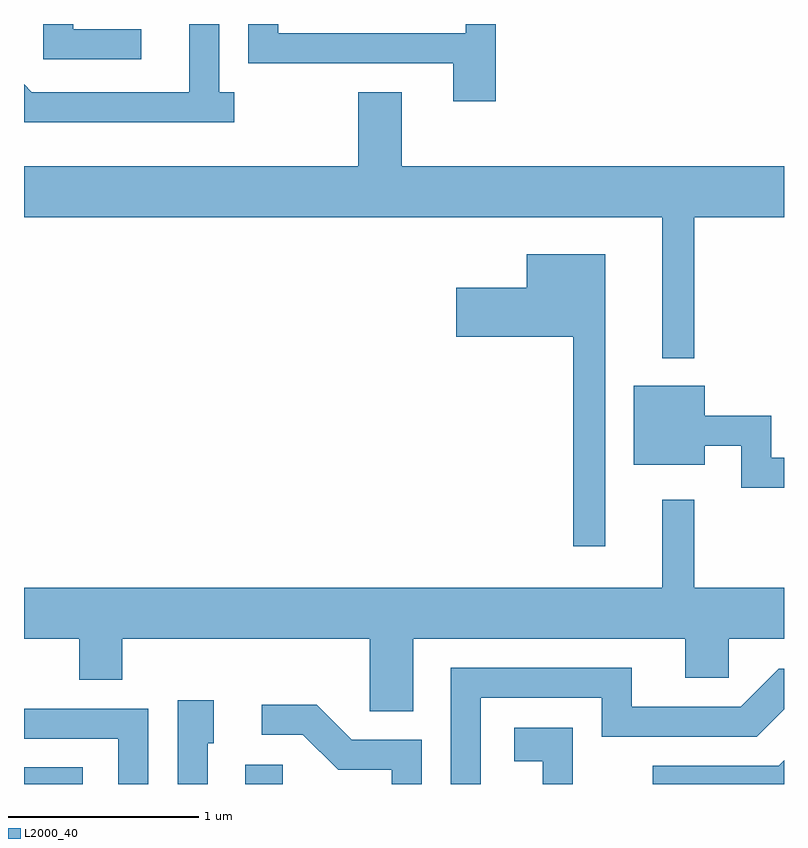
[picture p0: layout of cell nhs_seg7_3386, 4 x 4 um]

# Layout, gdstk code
import gdstk
lib = gdstk.Library(unit=1e-6, precision=1e-09)
def R(c, l, rs):  # rectangles x0, y0, x1, y1
    for r in rs: c.add(gdstk.rectangle(r[:2], r[2:], *l))
def P(c, l, *ps):  # polygons
    for p in ps: c.add(gdstk.Polygon(p, *l))
L2000_40 = (2000, 40)

nhs_seg7_3386 = lib.new_cell('nhs_seg7_3386')
R(nhs_seg7_3386, L2000_40, [(289.611,1680.252,289.919,1680.339), (290.776,1680.252,290.974,1680.354)])
P(nhs_seg7_3386, L2000_40, [(290.228,1684.224),(289.869,1684.224),(289.869,1684.252),(289.711,1684.252),(289.711,1684.066),(290.228,1684.066)],
  [(290.718,1683.894),(290.639,1683.894),(290.639,1684.252),(290.481,1684.252),(290.481,1683.894),(289.652,1683.894),(289.611,1683.935),(289.611,1683.736),(290.718,1683.736)],
  [(292.094,1684.252),(291.936,1684.252),(291.936,1684.204),(290.949,1684.204),(290.949,1684.252),(290.791,1684.252),(290.791,1684.046),(291.871,1684.046),(291.871,1683.846),(292.094,1683.846)],
  [(293.139,1683.236),(293.611,1683.236),(293.611,1683.504),(291.599,1683.504),(291.599,1683.894),(291.371,1683.894),(291.371,1683.504),(289.611,1683.504),(289.611,1683.236),(292.971,1683.236),(292.971,1682.493),(293.139,1682.493)],
  [(292.669,1683.039),(292.256,1683.039),(292.256,1682.864),(291.886,1682.864),(291.886,1682.606),(292.501,1682.606),(292.501,1681.503),(292.669,1681.503)],
  [(293.611,1681.969),(293.544,1681.969),(293.544,1682.189),(293.194,1682.189),(293.194,1682.349),(292.821,1682.349),(292.821,1681.931),(293.194,1681.931),(293.194,1682.031),(293.386,1682.031),(293.386,1681.811),(293.611,1681.811)],
  [(291.659,1681.016),(293.091,1681.016),(293.091,1680.811),(293.319,1680.811),(293.319,1681.016),(293.611,1681.016),(293.611,1681.284),(293.139,1681.284),(293.139,1681.748),(292.971,1681.748),(292.971,1681.284),(289.611,1681.284),(289.611,1681.016),(289.901,1681.016),(289.901,1680.801),(290.129,1680.801),(290.129,1681.016),(291.431,1681.016),(291.431,1680.636),(291.659,1680.636)],
  [(292.014,1680.706),(292.651,1680.706),(292.651,1680.501),(293.467,1680.501),(293.611,1680.645),(293.611,1680.859),(293.584,1680.859),(293.384,1680.659),(292.809,1680.659),(292.809,1680.864),(291.856,1680.864),(291.856,1680.252),(292.014,1680.252)],
  [(290.579,1680.466),(290.609,1680.466),(290.609,1680.694),(290.421,1680.694),(290.421,1680.252),(290.579,1680.252)],
  [(291.704,1680.484),(291.337,1680.484),(291.152,1680.669),(290.863,1680.669),(290.863,1680.511),(291.079,1680.511),(291.264,1680.326),(291.546,1680.326),(291.546,1680.252),(291.704,1680.252)],
  [(290.264,1680.649),(289.611,1680.649),(289.611,1680.491),(290.106,1680.491),(290.106,1680.252),(290.264,1680.252)],
  [(292.499,1680.549),(292.191,1680.549),(292.191,1680.371),(292.341,1680.371),(292.341,1680.252),(292.499,1680.252)],
  [(293.611,1680.376),(293.584,1680.349),(292.921,1680.349),(292.921,1680.252),(293.611,1680.252)])

lib.write_gds('nhs_seg7_3386.gds')
